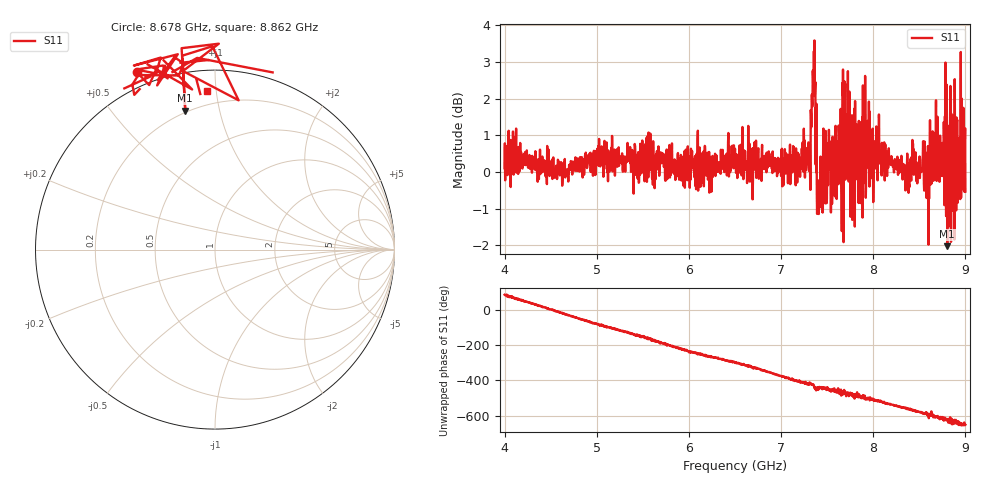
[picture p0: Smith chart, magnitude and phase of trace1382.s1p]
! Created with skrf 1.8.0 (http://scikit-rf.org).
# Hz S RI R 50.0
!freq ReS11 ImS11
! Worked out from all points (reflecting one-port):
!   1601 points, 4 GHz to 9 GHz, reference 50 ohm
!   lowest |S11| = -2.0 dB at 8.803 GHz (marker M1), VSWR 8.64, Z = 9.49 + j39.6 ohm
!   phase of S11 starts at 85 deg and turns -736 deg over the sweep
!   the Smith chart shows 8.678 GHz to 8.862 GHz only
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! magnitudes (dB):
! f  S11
! 4 GHz  0.1
! 4.1 GHz  0.5
! 4.625 GHz  -0.4
! 5.25 GHz  0.3
! 5.566 GHz  0.3
! 5.619 GHz  0.2
! 5.875 GHz  -0.1
! 6.5 GHz  0.6
! 7.125 GHz  0.3
! 7.294 GHz  0.4
! 7.347 GHz  2.6
! 7.359 GHz  2.4
! 7.412 GHz  -0.5
! 7.481 GHz  -0.9
! 7.638 GHz  0.4
! 7.65 GHz  1.0
! 7.691 GHz  1.7
! 7.75 GHz  -0.2
! 7.775 GHz  1.3
! 7.928 GHz  0.9
! 7.981 GHz  0.8
! 8.375 GHz  -0.5
! 8.441 GHz  -0.1
! 8.588 GHz  -0.4
! 8.803 GHz  -2.0
! 8.869 GHz  -1.0
! 8.972 GHz  0.6
! 9 GHz  -0.5
